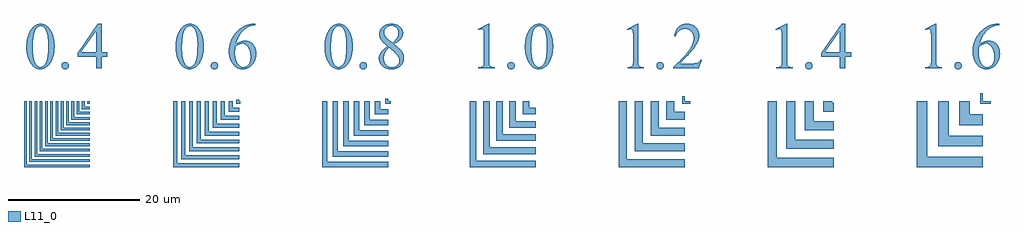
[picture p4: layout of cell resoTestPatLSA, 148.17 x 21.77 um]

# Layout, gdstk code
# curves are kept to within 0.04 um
import gdstk
lib = gdstk.Library(unit=1e-6, precision=1e-09)
def R(c, l, rs):  # rectangles x0, y0, x1, y1
    for r in rs: c.add(gdstk.rectangle(r[:2], r[2:], *l))
def P(c, l, *ps):  # polygons
    for p in ps: c.add(gdstk.Polygon(p, *l))
L11_0 = (11, 0)

resotestpatlsa = lib.new_cell('resoTestPatLSA')
R(resotestpatlsa, L11_0, [(9.6,9.6,10,10)])
P(resotestpatlsa, L11_0, [(1.6,1.6),(1.6,10),(2,10),(2,2),(10,2),(10,1.6)],
  [(0,0),(0,10),(0.4,10),(0.4,0.4),(10,0.4),(10,0)],
  [(0.8,0.8),(0.8,10),(1.2,10),(1.2,1.2),(10,1.2),(10,0.8)],
  [(2.4,2.4),(2.4,10),(2.8,10),(2.8,2.8),(10,2.8),(10,2.4)],
  [(3.2,3.2),(3.2,10),(3.6,10),(3.6,3.6),(10,3.6),(10,3.2)],
  [(4,4),(4,10),(4.4,10),(4.4,4.4),(10,4.4),(10,4)],
  [(4.8,4.8),(4.8,10),(5.2,10),(5.2,5.2),(10,5.2),(10,4.8)],
  [(5.6,5.6),(5.6,10),(6,10),(6,6),(10,6),(10,5.6)],
  [(6.4,6.4),(6.4,10),(6.8,10),(6.8,6.8),(10,6.8),(10,6.4)],
  [(7.2,7.2),(7.2,10),(7.6,10),(7.6,7.6),(10,7.6),(10,7.2)],
  [(8,8),(8,10),(8.4,10),(8.4,8.4),(10,8.4),(10,8)],
  [(8.8,8.8),(8.8,10),(9.2,10),(9.2,9.2),(10,9.2),(10,8.8)],
  [(6.25,14.859),(6.045,14.9),(5.867,15.023),(5.744,15.201),(5.703,15.406),(5.847,15.777),(6.021,15.904),(6.223,15.953),(6.44,15.922),(6.621,15.809),(6.758,15.611),(6.797,15.406),(6.756,15.201),(6.633,15.023),(6.455,14.9)],
  [(2.469,14.875),(2.019,14.945),(1.563,15.188),(2.518,15.188),(2.823,15.282),(3.225,15.654),(3.469,16.219),(3.657,17.542),(3.673,19.134),(3.533,20.185),(3.225,21.013),(3,21.281),(2.716,21.416),(2.355,21.419),(2.059,21.271),(1.839,21.032),(1.631,20.619),(1.4,19.543),(1.318,17.821),(1.378,17.052),(1.506,16.384),(1.692,15.833),(1.905,15.474),(2.169,15.259),(2.484,15.188),(1.563,15.188),(1.055,15.736),(0.766,16.24),(0.527,16.895),(0.401,17.549),(0.359,18.266),(0.494,19.566),(0.661,20.123),(0.939,20.697),(1.279,21.151),(1.664,21.477),(2.111,21.703),(2.516,21.766),(2.934,21.704),(3.37,21.49),(3.736,21.167),(4.066,20.732),(4.318,20.239),(4.497,19.682),(4.641,18.375),(4.609,17.687),(4.486,16.951),(4.313,16.414),(4.04,15.872),(3.715,15.453),(3.34,15.156),(2.899,14.945)],
  [(10.953,15),(10.953,16.75),(8.156,16.75),(8.156,17.375),(8.2,17.438),(10.953,17.438),(10.953,20.734),(8.641,17.438),(8.2,17.438),(11.234,21.766),(11.766,21.766),(11.766,17.438),(12.656,17.438),(12.656,16.75),(11.766,16.75),(11.766,15)],
  [(22.656,0),(22.656,10),(23.256,10),(23.256,0.6),(32.656,0.6),(32.656,0)],
  [(23.856,1.2),(23.856,10),(24.456,10),(24.456,1.8),(32.656,1.8),(32.656,1.2)],
  [(25.056,2.4),(25.056,10),(25.656,10),(25.656,3),(32.656,3),(32.656,2.4)],
  [(26.256,3.6),(26.256,10),(26.856,10),(26.856,4.2),(32.656,4.2),(32.656,3.6)],
  [(27.456,4.8),(27.456,10),(28.056,10),(28.056,5.4),(32.656,5.4),(32.656,4.8)],
  [(28.656,6),(28.656,10),(29.256,10),(29.256,6.6),(32.656,6.6),(32.656,6)],
  [(29.856,7.2),(29.856,10),(30.456,10),(30.456,7.8),(32.656,7.8),(32.656,7.2)],
  [(31.056,8.4),(31.056,10),(31.656,10),(31.656,9),(32.656,9),(32.656,8.4)],
  [(32.256,9.6),(32.256,10.2),(32.656,10.2),(32.656,10),(32.856,10),(32.856,9.6)],
  [(28.906,14.859),(28.701,14.9),(28.523,15.023),(28.4,15.201),(28.359,15.406),(28.4,15.621),(28.523,15.797),(28.879,15.953),(29.257,15.828),(29.404,15.635),(29.453,15.433),(29.422,15.225),(29.289,15.023),(29.111,14.9)],
  [(25.125,14.875),(24.675,14.945),(24.219,15.188),(25.174,15.188),(25.479,15.282),(25.881,15.654),(26.125,16.219),(26.302,17.385),(26.336,19.003),(26.189,20.185),(25.881,21.013),(25.656,21.281),(25.372,21.416),(25.012,21.419),(24.715,21.271),(24.495,21.032),(24.287,20.619),(24.056,19.543),(23.974,17.821),(24.162,16.384),(24.349,15.833),(24.561,15.474),(24.825,15.259),(25.141,15.188),(24.219,15.188),(23.712,15.736),(23.422,16.24),(23.184,16.895),(23.058,17.549),(23.016,18.266),(23.15,19.566),(23.359,20.227),(23.596,20.697),(23.935,21.151),(24.32,21.477),(24.711,21.684),(25.172,21.766),(25.59,21.704),(25.984,21.518),(26.353,21.209),(26.723,20.732),(26.974,20.239),(27.153,19.682),(27.297,18.375),(27.251,17.557),(27.142,16.951),(26.969,16.414),(26.696,15.872),(26.371,15.453),(25.997,15.156),(25.555,14.945)],
  [(33.172,14.875),(32.687,14.939),(32.225,15.156),(33.518,15.181),(33.852,15.345),(34.149,15.66),(34.359,16.19),(34.405,16.806),(34.322,17.477),(34.111,18.064),(33.78,18.512),(33.309,18.735),(32.779,18.69),(32.109,18.344),(32.018,17.163),(32.233,16.123),(32.435,15.71),(32.735,15.362),(33.019,15.201),(33.313,15.156),(32.225,15.156),(31.612,15.798),(31.223,16.623),(31.116,17.172),(31.095,17.705),(31.26,18.778),(31.49,19.389),(31.875,20.047),(32.3,20.554),(32.87,21.058),(33.422,21.413),(33.876,21.598),(34.451,21.735),(35.141,21.766),(35.141,21.578),(34.557,21.482),(34.086,21.32),(33.678,21.076),(33.281,20.734),(32.625,19.852),(32.209,18.785),(32.188,18.703),(32.715,18.998),(33.242,19.157),(33.721,19.183),(34.082,19.111),(34.447,18.929),(34.804,18.606),(35.054,18.228),(35.196,17.835),(35.264,17.341),(35.226,16.773),(35.089,16.293),(34.826,15.803),(34.481,15.39),(34.112,15.113),(33.641,14.928)],
  [(45.266,0),(45.266,10),(46.066,10),(46.066,0.8),(55.266,0.8),(55.266,0)],
  [(46.866,1.6),(46.866,10),(47.666,10),(47.666,2.4),(55.266,2.4),(55.266,1.6)],
  [(48.466,3.2),(48.466,10),(49.266,10),(49.266,4),(55.266,4),(55.266,3.2)],
  [(53.266,8),(53.266,10),(54.066,10),(54.066,8.8),(55.266,8.8),(55.266,8)],
  [(50.066,4.8),(50.066,10),(50.866,10),(50.866,5.6),(55.266,5.6),(55.266,4.8)],
  [(51.666,6.4),(51.666,10),(52.466,10),(52.466,7.2),(55.266,7.2),(55.266,6.4)],
  [(54.866,9.6),(54.866,10.4),(55.266,10.4),(55.266,10),(55.666,10),(55.666,9.6)],
  [(51.516,14.859),(51.311,14.9),(51.133,15.023),(50.969,15.379),(51.094,15.757),(51.287,15.904),(51.488,15.953),(51.706,15.922),(51.886,15.809),(52.013,15.635),(52.063,15.406),(52.011,15.177),(51.898,15.023),(51.721,14.9)],
  [(47.734,14.875),(47.284,14.945),(46.829,15.188),(47.783,15.188),(48.088,15.282),(48.49,15.654),(48.734,16.219),(48.911,17.385),(48.945,19.003),(48.798,20.185),(48.491,21.013),(48.266,21.281),(47.981,21.416),(47.621,21.419),(47.324,21.271),(47.105,21.032),(46.896,20.619),(46.666,19.543),(46.583,17.821),(46.771,16.384),(46.958,15.833),(47.17,15.474),(47.434,15.259),(47.75,15.188),(46.829,15.188),(46.321,15.736),(46.003,16.303),(45.793,16.895),(45.667,17.549),(45.625,18.266),(45.759,19.566),(45.927,20.123),(46.205,20.697),(46.545,21.151),(46.93,21.477),(47.32,21.684),(47.781,21.766),(48.2,21.704),(48.593,21.518),(48.962,21.209),(49.332,20.732),(49.583,20.239),(49.763,19.682),(49.906,18.375),(49.86,17.557),(49.751,16.951),(49.578,16.414),(49.306,15.872),(48.98,15.453),(48.606,15.156),(48.164,14.945)],
  [(55.766,14.875),(55.162,14.945),(54.687,15.141),(55.97,15.145),(56.362,15.237),(56.597,15.374),(56.82,15.605),(56.939,15.825),(56.999,16.12),(56.964,16.461),(56.813,16.797),(55.901,17.755),(55.422,18.156),(55.372,18.113),(55.068,17.797),(54.82,17.406),(54.687,17.039),(54.626,16.59),(54.691,16.031),(54.927,15.572),(55.359,15.236),(55.844,15.141),(54.687,15.141),(54.582,15.209),(54.074,15.779),(53.934,16.105),(53.875,16.516),(53.949,16.951),(54.211,17.437),(54.574,17.834),(55.188,18.328),(54.601,18.859),(55.953,18.859),(56.511,19.435),(56.756,19.852),(56.834,20.192),(56.834,20.56),(56.755,20.883),(56.628,21.104),(56.449,21.278),(56.177,21.413),(55.543,21.451),(55.182,21.336),(54.863,21.078),(54.687,20.749),(54.664,20.39),(54.781,20.008),(54.986,19.695),(55.953,18.859),(54.601,18.859),(54.117,19.473),(53.97,19.875),(53.939,20.267),(54.02,20.68),(54.219,21.052),(54.501,21.354),(54.859,21.583),(55.28,21.72),(55.766,21.766),(56.32,21.704),(56.825,21.499),(57.222,21.16),(57.478,20.732),(57.538,20.192),(57.344,19.675),(56.941,19.212),(56.188,18.672),(56.898,18.074),(57.313,17.625),(57.594,17.113),(57.688,16.578),(57.538,15.888),(57.123,15.344),(56.543,15)],
  [(67.688,0),(67.688,10),(68.688,10),(68.688,1),(77.688,1),(77.688,0)],
  [(69.688,2),(69.688,10),(70.688,10),(70.688,3),(77.688,3),(77.688,2)],
  [(71.688,4),(71.688,10),(72.688,10),(72.688,5),(77.688,5),(77.688,4)],
  [(73.688,6),(73.688,10),(74.688,10),(74.688,7),(77.688,7),(77.688,6)],
  [(75.688,8),(75.688,10),(76.688,10),(76.688,9),(77.688,9),(77.688,8)],
  [(73.938,14.859),(73.732,14.9),(73.555,15.023),(73.391,15.379),(73.516,15.757),(73.709,15.904),(73.91,15.953),(74.288,15.828),(74.435,15.635),(74.484,15.433),(74.453,15.225),(74.34,15.044),(74.143,14.9)],
  [(68.984,15),(68.984,15.188),(69.568,15.249),(69.721,15.367),(69.797,15.545),(69.825,20.068),(69.787,20.644),(69.679,20.88),(69.389,20.967),(68.938,20.828),(68.859,20.969),(70.469,21.766),(70.625,21.766),(70.651,15.57),(70.721,15.385),(70.887,15.256),(71.469,15.188),(71.469,15)],
  [(78.156,14.875),(77.706,14.945),(77.251,15.188),(78.205,15.188),(78.51,15.282),(78.912,15.654),(79.156,16.219),(79.333,17.385),(79.367,19.003),(79.22,20.185),(78.913,21.013),(78.688,21.281),(78.403,21.416),(78.043,21.419),(77.746,21.271),(77.527,21.032),(77.318,20.619),(77.088,19.543),(77.005,17.821),(77.193,16.384),(77.38,15.833),(77.592,15.474),(77.856,15.259),(78.172,15.188),(77.251,15.188),(76.743,15.736),(76.425,16.303),(76.215,16.895),(76.089,17.549),(76.047,18.266),(76.181,19.566),(76.349,20.123),(76.627,20.697),(76.967,21.151),(77.352,21.477),(77.742,21.684),(78.203,21.766),(78.621,21.704),(79.015,21.518),(79.384,21.209),(79.754,20.732),(80.005,20.239),(80.185,19.682),(80.328,18.375),(80.282,17.557),(80.173,16.951),(80,16.414),(79.728,15.872),(79.402,15.453),(79.028,15.156),(78.586,14.945)],
  [(97.528,7.2),(97.528,10),(98.728,10),(98.728,8.4),(100.328,8.4),(100.328,7.2)],
  [(90.328,0),(90.328,10),(91.528,10),(91.528,1.2),(100.328,1.2),(100.328,0)],
  [(92.728,2.4),(92.728,10),(93.928,10),(93.928,3.6),(100.328,3.6),(100.328,2.4)],
  [(95.128,4.8),(95.128,10),(96.328,10),(96.328,6),(100.328,6),(100.328,4.8)],
  [(99.928,9.6),(99.928,10.8),(100.328,10.8),(100.328,10),(101.128,10),(101.128,9.6)],
  [(96.578,14.859),(96.373,14.9),(96.195,15.023),(96.072,15.201),(96.031,15.406),(96.175,15.777),(96.349,15.904),(96.551,15.953),(96.768,15.922),(96.949,15.809),(97.076,15.635),(97.125,15.406),(97.084,15.201),(96.961,15.023),(96.783,14.9)],
  [(91.625,15),(91.625,15.188),(92.209,15.249),(92.362,15.367),(92.438,15.545),(92.466,20.068),(92.428,20.644),(92.319,20.88),(92.029,20.967),(91.578,20.828),(91.5,20.969),(93.109,21.766),(93.266,21.766),(93.292,15.57),(93.362,15.385),(93.528,15.256),(94.109,15.188),(94.109,15)],
  [(98.547,15),(98.547,15.188),(100.012,16.609),(100.969,17.75),(101.449,18.592),(101.666,19.421),(101.648,19.877),(101.522,20.274),(101.241,20.659),(100.923,20.887),(100.359,21.016),(99.738,20.879),(99.222,20.474),(98.922,19.891),(98.734,19.891),(98.953,20.691),(99.328,21.251),(99.926,21.645),(100.625,21.766),(101.401,21.618),(101.969,21.242),(102.379,20.674),(102.516,20.016),(102.405,19.328),(102.067,18.612),(101.566,17.883),(99.578,15.734),(102.055,15.773),(102.438,15.938),(102.734,16.281),(102.906,16.281),(102.453,15)],
  [(112.906,0),(112.906,10),(114.306,10),(114.306,1.4),(122.906,1.4),(122.906,0)],
  [(115.706,2.8),(115.706,10),(117.106,10),(117.106,4.2),(122.906,4.2),(122.906,2.8)],
  [(118.506,5.6),(118.506,10),(119.906,10),(119.906,7),(122.906,7),(122.906,5.6)],
  [(121.306,8.4),(121.306,10),(122.706,10),(122.706,9.8),(122.906,9.8),(122.906,8.4)],
  [(119.156,14.859),(118.951,14.9),(118.773,15.023),(118.65,15.201),(118.609,15.406),(118.65,15.621),(118.773,15.797),(119.129,15.953),(119.507,15.828),(119.654,15.635),(119.703,15.433),(119.672,15.225),(119.539,15.023),(119.361,14.9)],
  [(114.203,15),(114.203,15.188),(114.787,15.249),(114.94,15.367),(115.016,15.545),(115.044,20.068),(115.006,20.644),(114.897,20.88),(114.607,20.967),(114.156,20.828),(114.078,20.969),(115.688,21.766),(115.844,21.766),(115.87,15.57),(115.94,15.385),(116.106,15.256),(116.688,15.188),(116.688,15)],
  [(123.859,15),(123.859,16.75),(121.063,16.75),(121.063,17.375),(121.106,17.438),(123.859,17.438),(123.859,20.734),(121.547,17.438),(121.106,17.438),(124.141,21.766),(124.672,21.766),(124.672,17.438),(125.563,17.438),(125.563,16.75),(124.672,16.75),(124.672,15)],
  [(135.563,0),(135.563,10),(137.163,10),(137.163,1.6),(145.563,1.6),(145.563,0)],
  [(138.762,3.2),(138.762,10),(140.363,10),(140.363,4.8),(145.563,4.8),(145.563,3.2)],
  [(141.962,6.4),(141.962,10),(143.563,10),(143.563,8),(145.563,8),(145.563,6.4)],
  [(145.163,9.6),(145.163,11.2),(145.563,11.2),(145.563,10),(146.762,10),(146.762,9.6)],
  [(141.813,14.859),(141.607,14.9),(141.43,15.023),(141.266,15.379),(141.391,15.757),(141.584,15.904),(141.785,15.953),(142.163,15.828),(142.31,15.635),(142.359,15.433),(142.328,15.225),(142.215,15.044),(142.018,14.9)],
  [(136.859,15),(136.859,15.188),(137.443,15.249),(137.596,15.367),(137.672,15.545),(137.7,20.068),(137.662,20.644),(137.554,20.88),(137.264,20.967),(136.813,20.828),(136.734,20.969),(138.344,21.766),(138.5,21.766),(138.526,15.57),(138.596,15.385),(138.762,15.256),(139.344,15.188),(139.344,15)],
  [(146.078,14.875),(145.593,14.939),(145.131,15.156),(146.424,15.181),(146.758,15.345),(147.055,15.66),(147.248,16.114),(147.313,16.703),(147.229,17.477),(147.017,18.064),(146.686,18.512),(146.215,18.735),(145.685,18.69),(145.016,18.344),(144.928,17.102),(145.139,16.123),(145.341,15.71),(145.641,15.362),(145.925,15.201),(146.219,15.156),(145.131,15.156),(144.757,15.497),(144.476,15.861),(144.109,16.699),(144.001,17.705),(144.166,18.778),(144.444,19.487),(144.781,20.047),(145.206,20.554),(145.776,21.058),(146.328,21.413),(146.782,21.598),(147.357,21.735),(148.047,21.766),(148.047,21.578),(147.045,21.344),(146.634,21.112),(146.236,20.782),(145.565,19.913),(145.138,18.865),(145.094,18.703),(145.709,19.034),(146.236,19.17),(146.627,19.183),(146.988,19.111),(147.353,18.929),(147.68,18.641),(147.96,18.228),(148.103,17.835),(148.17,17.341),(148.132,16.773),(147.996,16.293),(147.732,15.803),(147.387,15.39),(147.018,15.113),(146.547,14.928)])

lib.write_gds('resoTestPatLSA.gds')
